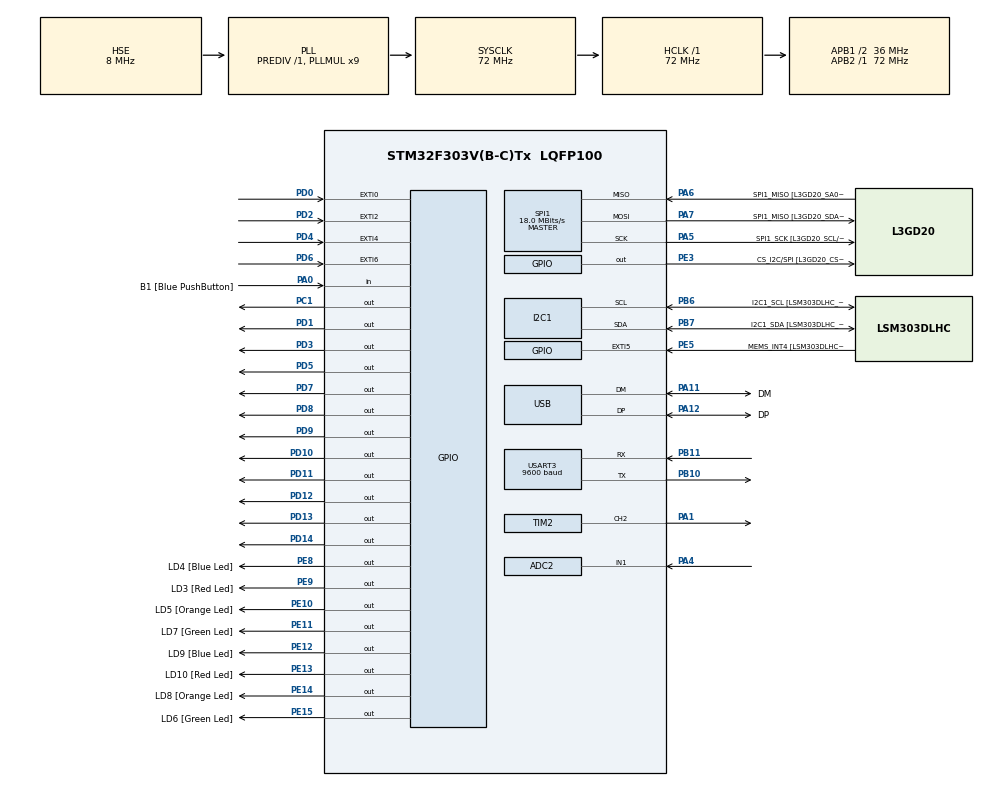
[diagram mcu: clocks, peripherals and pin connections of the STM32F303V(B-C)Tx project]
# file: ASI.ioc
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ADC2.Channel-0\#ChannelRegularConversion=ADC_CHANNEL_1
ADC2.NbrOfConversionFlag=1
ADC2.Offset-0\#ChannelRegularConversion=0
ADC2.OffsetNumber-0\#ChannelRegularConversion=ADC_OFFSET_NONE
ADC2.Rank-0\#ChannelRegularConversion=1
ADC2.SamplingTime-0\#ChannelRegularConversion=ADC_SAMPLETIME_601CYCLES_5
ADC2.SamplingTimeOPAMP-0\#ChannelRegularConversion=ADC_SAMPLETIME_19CYCLES_5
I2C1.Timing-I2C=0x2000090E
Mcu.Family=STM32F3
Mcu.Name=STM32F303V(B-C)Tx
Mcu.Package=LQFP100
NVIC.ADC1_2_IRQn=true\:2\:0\:true\:false\:true\:true\:true\:true
NVIC.EXTI0_IRQn=true\:1\:0\:true\:false\:true\:true\:true\:true
NVIC.EXTI2_TSC_IRQn=true\:1\:0\:true\:false\:true\:true\:true\:true
NVIC.EXTI4_IRQn=true\:1\:0\:true\:false\:true\:true\:true\:true
NVIC.EXTI9_5_IRQn=true\:1\:0\:true\:false\:true\:true\:true\:true
NVIC.PriorityGroup=NVIC_PRIORITYGROUP_2
NVIC.TIM1_BRK_TIM15_IRQn=true\:1\:0\:true\:false\:true\:true\:true\:true
NVIC.TIM1_CC_IRQn=true\:1\:0\:true\:false\:true\:true\:true\:true
NVIC.TIM1_TRG_COM_TIM17_IRQn=true\:1\:0\:true\:false\:true\:true\:true\:true
NVIC.TIM1_UP_TIM16_IRQn=true\:1\:0\:true\:false\:true\:true\:true\:true
NVIC.USART3_IRQn=true\:1\:0\:true\:false\:true\:true\:true\:true
PA0.GPIO_Label=B1 [Blue PushButton]
PA0.Signal=GPIO_Input
PA1.Signal=S_TIM2_CH2
PA11.GPIO_Label=DM
PA11.Mode=Device
PA11.Signal=USB_DM
PA12.GPIO_Label=DP
PA12.Mode=Device
PA12.Signal=USB_DP
PA13.GPIO_Label=SWDIO
PA13.Mode=Serial_Wire
PA13.Signal=SYS_JTMS-SWDIO
PA14.GPIO_Label=SWCLK
PA14.Mode=Serial_Wire
PA14.Signal=SYS_JTCK-SWCLK
PA4.Mode=IN1-Single-Ended
PA4.Signal=ADC2_IN1
PA5.GPIO_Label=SPI1_SCK [L3GD20_SCL/SPC]
PA5.Mode=Full_Duplex_Master
PA5.Signal=SPI1_SCK
PA6.GPIO_Label=SPI1_MISO [L3GD20_SA0/SDO]
PA6.Mode=Full_Duplex_Master
PA6.Signal=SPI1_MISO
PA7.GPIO_Label=SPI1_MISO [L3GD20_SDA/SDI/SDO]
PA7.Mode=Full_Duplex_Master
PA7.Signal=SPI1_MOSI
PB10.Mode=Asynchronous
PB10.Signal=USART3_TX
PB11.Mode=Asynchronous
PB11.Signal=USART3_RX
PB3.GPIO_Label=SWO
PB3.Signal=SYS_JTDO-TRACESWO
PB6.GPIO_Label=I2C1_SCL [LSM303DLHC_SCL]
PB6.GPIO_Pu=GPIO_PULLUP
PB6.Mode=I2C
PB6.Signal=I2C1_SCL
PB7.GPIO_Label=I2C1_SDA [LSM303DLHC_SDA]
PB7.GPIO_Pu=GPIO_PULLUP
PB7.Mode=I2C
PB7.Signal=I2C1_SDA
PC1.Signal=GPIO_Output
PC14-OSC32_IN.GPIO_Label=OSC32_IN
PC14-OSC32_IN.Signal=RCC_OSC32_IN
PC15-OSC32_OUT.GPIO_Label=OSC32_OUT
PC15-OSC32_OUT.Signal=RCC_OSC32_OUT
PD0.GPIO_PuPd=GPIO_PULLDOWN
PD0.Signal=GPXTI0
PD1.Signal=GPIO_Output
PD10.Signal=GPIO_Output
PD11.Signal=GPIO_Output
PD12.Signal=GPIO_Output
PD13.Signal=GPIO_Output
PD14.Signal=GPIO_Output
PD2.GPIO_PuPd=GPIO_PULLDOWN
PD2.Signal=GPXTI2
PD3.Signal=GPIO_Output
PD4.GPIO_PuPd=GPIO_PULLDOWN
PD4.Signal=GPXTI4
PD5.Signal=GPIO_Output
PD6.GPIO_PuPd=GPIO_PULLDOWN
PD6.Signal=GPXTI6
PD7.Signal=GPIO_Output
PD8.Signal=GPIO_Output
PD9.Signal=GPIO_Output
PE10.GPIO_Label=LD5 [Orange Led]
PE10.Signal=GPIO_Output
PE11.GPIO_Label=LD7 [Green Led]
PE11.Signal=GPIO_Output
PE12.GPIO_Label=LD9 [Blue Led]
PE12.Signal=GPIO_Output
PE13.GPIO_Label=LD10 [Red Led]
PE13.Signal=GPIO_Output
PE14.GPIO_Label=LD8 [Orange Led]
PE14.Signal=GPIO_Output
PE15.GPIO_Label=LD6 [Green Led]
PE15.Signal=GPIO_Output
PE3.GPIO_Label=CS_I2C/SPI [L3GD20_CS_I2C/SPI]
PE3.Signal=GPIO_Output
PE5.GPIO_Label=MEMS_INT4 [LSM303DLHC_INT2]
PE5.GPIO_ModeDefaultEXTI=GPIO_MODE_EVT_RISING
PE5.Signal=GPXTI5
PE8.GPIO_Label=LD4 [Blue Led]
PE8.Signal=GPIO_Output
PE9.GPIO_Label=LD3 [Red Led]
PE9.Signal=GPIO_Output
PF0-OSC_IN.GPIO_Label=OSC_IN
PF0-OSC_IN.Mode=HSE-External-Clock-Source
PF0-OSC_IN.Signal=RCC_OSC_IN
PF1-OSC_OUT.GPIO_Label=OSC_OUT
PF1-OSC_OUT.Signal=RCC_OSC_OUT
ProjectManager.HeapSize=0x200
ProjectManager.StackSize=0x400
ProjectManager.TargetToolchain=STM32CubeIDE
RCC.AHBFreq_Value=72000000
RCC.APB1CLKDivider=RCC_HCLK_DIV2
RCC.APB1Freq_Value=36000000
RCC.APB1TimFreq_Value=72000000
RCC.APB2Freq_Value=72000000
RCC.APB2TimFreq_Value=72000000
RCC.CortexFreq_Value=72000000
RCC.HCLKFreq_Value=72000000
RCC.HSE_VALUE=8000000
RCC.HSI_VALUE=8000000
RCC.LSE_VALUE=32768
RCC.PLLMUL=RCC_PLL_MUL9
RCC.PRESCALERUSB=RCC_USBCLKSOURCE_PLL_DIV1_5
RCC.SYSCLKFreq_VALUE=72000000
RCC.SYSCLKSourceVirtual=RCC_SYSCLKSOURCE_PLLCLK
RCC.USBFreq_Value=48000000
RTC.AsynchPrediv=39
RTC.SynchPrediv=999
SH.S_TIM2_CH2.0=TIM2_CH2,PWM Generation2 CH2
SPI1.BaudRatePrescaler=SPI_BAUDRATEPRESCALER_4
SPI1.BaudRatePrescaler-Full_Duplex_Master=SPI_BAUDRATEPRESCALER_2
SPI1.CalculateBaudRate=18.0 MBits/s
SPI1.CalculateBaudRate-Full_Duplex_Master=24.0 MBits/s
SPI1.Direction=SPI_DIRECTION_2LINES
SPI1.Mode=SPI_MODE_MASTER
SPI1.Mode-Full_Duplex_Master=SPI_MODE_MASTER
SPI1.VirtualType=VM_MASTER
TIM1.Period=999
TIM1.Prescaler=3599
TIM2.Channel-PWM\ Generation2\ CH2=TIM_CHANNEL_2
USART3.BaudRate=9600
USART3.VirtualMode-Asynchronous=VM_ASYNC
VP_RTC_VS_RTC_Activate.Mode=RTC_Enabled
VP_TIM1_VS_ClockSourceINT.Mode=Internal
VP_TIM2_VS_ClockSourceINT.Mode=Internal
board=STM32F3DISCOVERY

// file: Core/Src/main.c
/* USER CODE BEGIN Header */
/**
  ******************************************************************************
  * @file           : main.c
  * @brief          : Main program body
  ******************************************************************************
  * @attention
  *
  * Copyright (c) 2023 STMicroelectronics.
  * All rights reserved.
  *
  * This software is licensed under terms that can be found in the LICENSE file
  * in the root directory of this software component.
  * If no LICENSE file comes with this software, it is provided AS-IS.
  *
  ******************************************************************************
  */
/* USER CODE END Header */
#include "main.h"

/* USER CODE BEGIN Includes */
#include "buzzer.h"
#include "keypad.h"
#include "melody.h"
#include "game.h"
#include "lcd.h"
#include "stdio.h"
#include "ctype.h"
#include "string.h"
#include "LiquidCrystal.h"
/* USER CODE END Includes */

/* USER CODE BEGIN PD */
#define ADC_VOLUME ADC2
/* USER CODE END PD */

ADC_HandleTypeDef hadc2;

I2C_HandleTypeDef hi2c1;

RTC_HandleTypeDef hrtc;

SPI_HandleTypeDef hspi1;

TIM_HandleTypeDef htim1;
TIM_HandleTypeDef htim2;

UART_HandleTypeDef huart3;

PCD_HandleTypeDef hpcd_USB_FS;

/* USER CODE BEGIN PV */
RTC_TimeTypeDef mytime;
RTC_DateTypeDef mydate;

unsigned char uart_buffer[20];
unsigned char uart_data;
int uart_buffer_pos = 0;

int timer_count = 0;
volatile uint32_t last_gpio_exti;

char si_player_name[] = {'\0','\0','\0','\0','\0','\0','\0','\0','\0','\0'};
char si_game_level= 'E';
int si_is_player_entered_name=0;

int lcd_page = 0;
int lcd_page_menu_current_option = 1;
int lcd_page_game_menu_current_option;

int ph_index=0;

int msg_player_health=0;
int msg_remained_enemies=0;

int is_game_page_cleared_for_boss=0;
int is_boss_game_started = 0;
/* USER CODE END PV */

void SystemClock_Config(void);
static void MX_GPIO_Init(void);
static void MX_I2C1_Init(void);
static void MX_SPI1_Init(void);
static void MX_USB_PCD_Init(void);
static void MX_ADC2_Init(void);
static void MX_RTC_Init(void);
static void MX_TIM2_Init(void);
static void MX_USART3_UART_Init(void);
static void MX_TIM1_Init(void);
/* USER CODE BEGIN PFP */
void HAL_GPIO_EXTI_Callback(uint16_t GPIO_Pin);
void HAL_TIM_PeriodElapsedCallback(TIM_HandleTypeDef *htim);
void HAL_UART_RxCpltCallback(UART_HandleTypeDef *huart);
void HAL_ADC_ConvCpltCallback(ADC_HandleTypeDef* hadc);

void Reset_App();
/* USER CODE END PFP */

int main(void)
{

  /* MCU Configuration--------------------------------------------------------*/

  /* Reset of all peripherals, Initializes the Flash interface and the Systick. */
  HAL_Init();

  /* Configure the system clock */
  SystemClock_Config();

  /* Initialize all configured peripherals */
  MX_GPIO_Init();
  MX_I2C1_Init();
  MX_SPI1_Init();
  MX_USB_PCD_Init();
  MX_ADC2_Init();
  MX_RTC_Init();
  MX_TIM2_Init();
  MX_USART3_UART_Init();
  MX_TIM1_Init();
  /* USER CODE BEGIN 2 */
  Init_Keypad();
  HAL_UART_Receive_IT(&huart3, &uart_data, sizeof(uart_data));

  mytime.Hours = 18;
  mytime.Minutes=12;
  mytime.Seconds=41;
  HAL_RTC_SetTime(&hrtc, &mytime, RTC_FORMAT_BIN);
  mydate.Year = 23;
  mydate.Month=2;
  mydate.WeekDay=2;
  HAL_RTC_SetDate(&hrtc, &mydate, RTC_FORMAT_BIN);

  LiquidCrystal(GPIOD, GPIO_PIN_8, GPIO_PIN_9, GPIO_PIN_10, GPIO_PIN_11, GPIO_PIN_12, GPIO_PIN_13, GPIO_PIN_14);
  begin(20,4);
  LCD_Init();
  LCD_Display_Page_Menu();
  LCD_Update_Selected_Option_In_Page_Menu(1, 1);
  HAL_TIM_Base_Start_IT(&htim1);
  Init_Buzzer_PWM(&htim2,TIM_CHANNEL_2);
  PWM_Play();
  Set_Menu_Melody();
  HAL_ADC_Start_IT(&hadc2);
  /* USER CODE END 2 */

  /* Infinite loop */
  while (1)
  {

  }
}

void SystemClock_Config(void)
{
  RCC_OscInitTypeDef RCC_OscInitStruct = {0};
  RCC_ClkInitTypeDef RCC_ClkInitStruct = {0};
  RCC_PeriphCLKInitTypeDef PeriphClkInit = {0};

  /** Initializes the RCC Oscillators according to the specified parameters
  * in the RCC_OscInitTypeDef structure.
  */
  RCC_OscInitStruct.OscillatorType = RCC_OSCILLATORTYPE_HSI|RCC_OSCILLATORTYPE_LSI
                              |RCC_OSCILLATORTYPE_HSE;
  RCC_OscInitStruct.HSEState = RCC_HSE_BYPASS;
  RCC_OscInitStruct.HSEPredivValue = RCC_HSE_PREDIV_DIV1;
  RCC_OscInitStruct.HSIState = RCC_HSI_ON;
  RCC_OscInitStruct.HSICalibrationValue = RCC_HSICALIBRATION_DEFAULT;
  RCC_OscInitStruct.LSIState = RCC_LSI_ON;
  RCC_OscInitStruct.PLL.PLLState = RCC_PLL_ON;
  RCC_OscInitStruct.PLL.PLLSource = RCC_PLLSOURCE_HSE;
  RCC_OscInitStruct.PLL.PLLMUL = RCC_PLL_MUL9;
  if (HAL_RCC_OscConfig(&RCC_OscInitStruct) != HAL_OK)
  {
    Error_Handler();
  }

  /** Initializes the CPU, AHB and APB buses clocks
  */
  RCC_ClkInitStruct.ClockType = RCC_CLOCKTYPE_HCLK|RCC_CLOCKTYPE_SYSCLK
                              |RCC_CLOCKTYPE_PCLK1|RCC_CLOCKTYPE_PCLK2;
  RCC_ClkInitStruct.SYSCLKSource = RCC_SYSCLKSOURCE_PLLCLK;
  RCC_ClkInitStruct.AHBCLKDivider = RCC_SYSCLK_DIV1;
  RCC_ClkInitStruct.APB1CLKDivider = RCC_HCLK_DIV2;
  RCC_ClkInitStruct.APB2CLKDivider = RCC_HCLK_DIV1;

  if (HAL_RCC_ClockConfig(&RCC_ClkInitStruct, FLASH_LATENCY_2) != HAL_OK)
  {
    Error_Handler();
  }
  PeriphClkInit.PeriphClockSelection = RCC_PERIPHCLK_USB|RCC_PERIPHCLK_USART3
                              |RCC_PERIPHCLK_I2C1|RCC_PERIPHCLK_RTC
                              |RCC_PERIPHCLK_TIM1|RCC_PERIPHCLK_ADC12;
  PeriphClkInit.Usart3ClockSelection = RCC_USART3CLKSOURCE_PCLK1;
  PeriphClkInit.Adc12ClockSelection = RCC_ADC12PLLCLK_DIV1;
  PeriphClkInit.I2c1ClockSelection = RCC_I2C1CLKSOURCE_HSI;
  PeriphClkInit.RTCClockSelection = RCC_RTCCLKSOURCE_LSI;
  PeriphClkInit.USBClockSelection = RCC_USBCLKSOURCE_PLL_DIV1_5;
  PeriphClkInit.Tim1ClockSelection = RCC_TIM1CLK_HCLK;
  if (HAL_RCCEx_PeriphCLKConfig(&PeriphClkInit) != HAL_OK)
  {
    Error_Handler();
  }
}

static void MX_ADC2_Init(void)
{

  ADC_ChannelConfTypeDef sConfig = {0};

  /** Common config
  */
  hadc2.Instance = ADC2;
  hadc2.Init.ClockPrescaler = ADC_CLOCK_ASYNC_DIV1;
  hadc2.Init.Resolution = ADC_RESOLUTION_12B;
  hadc2.Init.ScanConvMode = ADC_SCAN_DISABLE;
  hadc2.Init.ContinuousConvMode = DISABLE;
  hadc2.Init.DiscontinuousConvMode = DISABLE;
  hadc2.Init.ExternalTrigConvEdge = ADC_EXTERNALTRIGCONVEDGE_NONE;
  hadc2.Init.ExternalTrigConv = ADC_SOFTWARE_START;
  hadc2.Init.DataAlign = ADC_DATAALIGN_RIGHT;
  hadc2.Init.NbrOfConversion = 1;
  hadc2.Init.DMAContinuousRequests = DISABLE;
  hadc2.Init.EOCSelection = ADC_EOC_SINGLE_CONV;
  hadc2.Init.LowPowerAutoWait = DISABLE;
  hadc2.Init.Overrun = ADC_OVR_DATA_OVERWRITTEN;
  if (HAL_ADC_Init(&hadc2) != HAL_OK)
  {
    Error_Handler();
  }

  /** Configure Regular Channel
  */
  sConfig.Channel = ADC_CHANNEL_1;
  sConfig.Rank = ADC_REGULAR_RANK_1;
  sConfig.SingleDiff = ADC_SINGLE_ENDED;
  sConfig.SamplingTime = ADC_SAMPLETIME_601CYCLES_5;
  sConfig.OffsetNumber = ADC_OFFSET_NONE;
  sConfig.Offset = 0;
  if (HAL_ADC_ConfigChannel(&hadc2, &sConfig) != HAL_OK)
  {
    Error_Handler();
  }

}

static void MX_I2C1_Init(void)
{

  hi2c1.Instance = I2C1;
  hi2c1.Init.Timing = 0x2000090E;
  hi2c1.Init.OwnAddress1 = 0;
  hi2c1.Init.AddressingMode = I2C_ADDRESSINGMODE_7BIT;
  hi2c1.Init.DualAddressMode = I2C_DUALADDRESS_DISABLE;
  hi2c1.Init.OwnAddress2 = 0;
  hi2c1.Init.OwnAddress2Masks = I2C_OA2_NOMASK;
  hi2c1.Init.GeneralCallMode = I2C_GENERALCALL_DISABLE;
  hi2c1.Init.NoStretchMode = I2C_NOSTRETCH_DISABLE;
  if (HAL_I2C_Init(&hi2c1) != HAL_OK)
  {
    Error_Handler();
  }

  /** Configure Analogue filter
  */
  if (HAL_I2CEx_ConfigAnalogFilter(&hi2c1, I2C_ANALOGFILTER_ENABLE) != HAL_OK)
  {
    Error_Handler();
  }

  /** Configure Digital filter
  */
  if (HAL_I2CEx_ConfigDigitalFilter(&hi2c1, 0) != HAL_OK)
  {
    Error_Handler();
  }

}

static void MX_RTC_Init(void)
{

  /** Initialize RTC Only
  */
  hrtc.Instance = RTC;
  hrtc.Init.HourFormat = RTC_HOURFORMAT_24;
  hrtc.Init.AsynchPrediv = 39;
  hrtc.Init.SynchPrediv = 999;
  hrtc.Init.OutPut = RTC_OUTPUT_DISABLE;
  hrtc.Init.OutPutPolarity = RTC_OUTPUT_POLARITY_HIGH;
  hrtc.Init.OutPutType = RTC_OUTPUT_TYPE_OPENDRAIN;
  if (HAL_RTC_Init(&hrtc) != HAL_OK)
  {
    Error_Handler();
  }

}

static void MX_SPI1_Init(void)
{

  /* SPI1 parameter configuration*/
  hspi1.Instance = SPI1;
  hspi1.Init.Mode = SPI_MODE_MASTER;
  hspi1.Init.Direction = SPI_DIRECTION_2LINES;
  hspi1.Init.DataSize = SPI_DATASIZE_4BIT;
  hspi1.Init.CLKPolarity = SPI_POLARITY_LOW;
  hspi1.Init.CLKPhase = SPI_PHASE_1EDGE;
  hspi1.Init.NSS = SPI_NSS_SOFT;
  hspi1.Init.BaudRatePrescaler = SPI_BAUDRATEPRESCALER_4;
  hspi1.Init.FirstBit = SPI_FIRSTBIT_MSB;
  hspi1.Init.TIMode = SPI_TIMODE_DISABLE;
  hspi1.Init.CRCCalculation = SPI_CRCCALCULATION_DISABLE;
  hspi1.Init.CRCPolynomial = 7;
  hspi1.Init.CRCLength = SPI_CRC_LENGTH_DATASIZE;
  hspi1.Init.NSSPMode = SPI_NSS_PULSE_ENABLE;
  if (HAL_SPI_Init(&hspi1) != HAL_OK)
  {
    Error_Handler();
  }

}

static void MX_TIM1_Init(void)
{

  TIM_ClockConfigTypeDef sClockSourceConfig = {0};
  TIM_MasterConfigTypeDef sMasterConfig = {0};

  htim1.Instance = TIM1;
  htim1.Init.Prescaler = 3599;
  htim1.Init.CounterMode = TIM_COUNTERMODE_UP;
  htim1.Init.Period = 999;
  htim1.Init.ClockDivision = TIM_CLOCKDIVISION_DIV1;
  htim1.Init.RepetitionCounter = 0;
  htim1.Init.AutoReloadPreload = TIM_AUTORELOAD_PRELOAD_DISABLE;
  if (HAL_TIM_Base_Init(&htim1) != HAL_OK)
  {
    Error_Handler();
  }
  sClockSourceConfig.ClockSource = TIM_CLOCKSOURCE_INTERNAL;
  if (HAL_TIM_ConfigClockSource(&htim1, &sClockSourceConfig) != HAL_OK)
  {
    Error_Handler();
  }
  sMasterConfig.MasterOutputTrigger = TIM_TRGO_RESET;
  sMasterConfig.MasterOutputTrigger2 = TIM_TRGO2_RESET;
  sMasterConfig.MasterSlaveMode = TIM_MASTERSLAVEMODE_DISABLE;
  if (HAL_TIMEx_MasterConfigSynchronization(&htim1, &sMasterConfig) != HAL_OK)
  {
    Error_Handler();
  }

}

static void MX_TIM2_Init(void)
{

  TIM_ClockConfigTypeDef sClockSourceConfig = {0};
  TIM_MasterConfigTypeDef sMasterConfig = {0};
  TIM_OC_InitTypeDef sConfigOC = {0};

  htim2.Instance = TIM2;
  htim2.Init.Prescaler = 0;
  htim2.Init.CounterMode = TIM_COUNTERMODE_UP;
  htim2.Init.Period = 4294967295;
  htim2.Init.ClockDivision = TIM_CLOCKDIVISION_DIV1;
  htim2.Init.AutoReloadPreload = TIM_AUTORELOAD_PRELOAD_DISABLE;
  if (HAL_TIM_Base_Init(&htim2) != HAL_OK)
  {
    Error_Handler();
  }
  sClockSourceConfig.ClockSource = TIM_CLOCKSOURCE_INTERNAL;
  if (HAL_TIM_ConfigClockSource(&htim2, &sClockSourceConfig) != HAL_OK)
  {
    Error_Handler();
  }
  if (HAL_TIM_PWM_Init(&htim2) != HAL_OK)
  {
    Error_Handler();
  }
  sMasterConfig.MasterOutputTrigger = TIM_TRGO_RESET;
  sMasterConfig.MasterSlaveMode = TIM_MASTERSLAVEMODE_DISABLE;
  if (HAL_TIMEx_MasterConfigSynchronization(&htim2, &sMasterConfig) != HAL_OK)
  {
    Error_Handler();
  }
  sConfigOC.OCMode = TIM_OCMODE_PWM1;
  sConfigOC.Pulse = 0;
  sConfigOC.OCPolarity = TIM_OCPOLARITY_HIGH;
  sConfigOC.OCFastMode = TIM_OCFAST_DISABLE;
  if (HAL_TIM_PWM_ConfigChannel(&htim2, &sConfigOC, TIM_CHANNEL_2) != HAL_OK)
  {
    Error_Handler();
  }
  HAL_TIM_MspPostInit(&htim2);

}

static void MX_USART3_UART_Init(void)
{

  huart3.Instance = USART3;
  huart3.Init.BaudRate = 9600;
  huart3.Init.WordLength = UART_WORDLENGTH_8B;
  huart3.Init.StopBits = UART_STOPBITS_1;
  huart3.Init.Parity = UART_PARITY_NONE;
  huart3.Init.Mode = UART_MODE_TX_RX;
  huart3.Init.HwFlowCtl = UART_HWCONTROL_NONE;
  huart3.Init.OverSampling = UART_OVERSAMPLING_16;
  huart3.Init.OneBitSampling = UART_ONE_BIT_SAMPLE_DISABLE;
  huart3.AdvancedInit.AdvFeatureInit = UART_ADVFEATURE_NO_INIT;
  if (HAL_UART_Init(&huart3) != HAL_OK)
  {
    Error_Handler();
  }

}

static void MX_USB_PCD_Init(void)
{

  hpcd_USB_FS.Instance = USB;
  hpcd_USB_FS.Init.dev_endpoints = 8;
  hpcd_USB_FS.Init.speed = PCD_SPEED_FULL;
  hpcd_USB_FS.Init.phy_itface = PCD_PHY_EMBEDDED;
  hpcd_USB_FS.Init.low_power_enable = DISABLE;
  hpcd_USB_FS.Init.battery_charging_enable = DISABLE;
  if (HAL_PCD_Init(&hpcd_USB_FS) != HAL_OK)
  {
    Error_Handler();
  }

}

static void MX_GPIO_Init(void)
{
  GPIO_InitTypeDef GPIO_InitStruct = {0};

  /* GPIO Ports Clock Enable */
  __HAL_RCC_GPIOE_CLK_ENABLE();
  __HAL_RCC_GPIOC_CLK_ENABLE();
  __HAL_RCC_GPIOF_CLK_ENABLE();
  __HAL_RCC_GPIOA_CLK_ENABLE();
  __HAL_RCC_GPIOB_CLK_ENABLE();
  __HAL_RCC_GPIOD_CLK_ENABLE();

  /*Configure GPIO pin Output Level */
  HAL_GPIO_WritePin(GPIOE, CS_I2C_SPI_Pin|LD4_Pin|LD3_Pin|LD5_Pin
                          |LD7_Pin|LD9_Pin|LD10_Pin|LD8_Pin
                          |LD6_Pin, GPIO_PIN_RESET);

  /*Configure GPIO pin Output Level */
  HAL_GPIO_WritePin(GPIOC, GPIO_PIN_1, GPIO_PIN_RESET);

  /*Configure GPIO pin Output Level */
  HAL_GPIO_WritePin(GPIOD, GPIO_PIN_8|GPIO_PIN_9|GPIO_PIN_10|GPIO_PIN_11
                          |GPIO_PIN_12|GPIO_PIN_13|GPIO_PIN_14|GPIO_PIN_1
                          |GPIO_PIN_3|GPIO_PIN_5|GPIO_PIN_7, GPIO_PIN_RESET);

  /*Configure GPIO pins : CS_I2C_SPI_Pin LD4_Pin LD3_Pin LD5_Pin
                           LD7_Pin LD9_Pin LD10_Pin LD8_Pin
                           LD6_Pin */
  GPIO_InitStruct.Pin = CS_I2C_SPI_Pin|LD4_Pin|LD3_Pin|LD5_Pin
                          |LD7_Pin|LD9_Pin|LD10_Pin|LD8_Pin
                          |LD6_Pin;
  GPIO_InitStruct.Mode = GPIO_MODE_OUTPUT_PP;
  GPIO_InitStruct.Pull = GPIO_NOPULL;
  GPIO_InitStruct.Speed = GPIO_SPEED_FREQ_LOW;
  HAL_GPIO_Init(GPIOE, &GPIO_InitStruct);

  /*Configure GPIO pin : MEMS_INT4_Pin */
  GPIO_InitStruct.Pin = MEMS_INT4_Pin;
  GPIO_InitStruct.Mode = GPIO_MODE_EVT_RISING;
  GPIO_InitStruct.Pull = GPIO_NOPULL;
  HAL_GPIO_Init(MEMS_INT4_GPIO_Port, &GPIO_InitStruct);

  /*Configure GPIO pin : PC1 */
  GPIO_InitStruct.Pin = GPIO_PIN_1;
  GPIO_InitStruct.Mode = GPIO_MODE_OUTPUT_PP;
  GPIO_InitStruct.Pull = GPIO_NOPULL;
  GPIO_InitStruct.Speed = GPIO_SPEED_FREQ_LOW;
  HAL_GPIO_Init(GPIOC, &GPIO_InitStruct);

  /*Configure GPIO pin : B1_Pin */
  GPIO_InitStruct.Pin = B1_Pin;
  GPIO_InitStruct.Mode = GPIO_MODE_INPUT;
  GPIO_InitStruct.Pull = GPIO_NOPULL;
  HAL_GPIO_Init(B1_GPIO_Port, &GPIO_InitStruct);

  /*Configure GPIO pins : PD8 PD9 PD10 PD11
                           PD12 PD13 PD14 PD1
                           PD3 PD5 PD7 */
  GPIO_InitStruct.Pin = GPIO_PIN_8|GPIO_PIN_9|GPIO_PIN_10|GPIO_PIN_11
                          |GPIO_PIN_12|GPIO_PIN_13|GPIO_PIN_14|GPIO_PIN_1
                          |GPIO_PIN_3|GPIO_PIN_5|GPIO_PIN_7;
  GPIO_InitStruct.Mode = GPIO_MODE_OUTPUT_PP;
  GPIO_InitStruct.Pull = GPIO_NOPULL;
  GPIO_InitStruct.Speed = GPIO_SPEED_FREQ_LOW;
  HAL_GPIO_Init(GPIOD, &GPIO_InitStruct);

  /*Configure GPIO pins : PD0 PD2 PD4 PD6 */
  GPIO_InitStruct.Pin = GPIO_PIN_0|GPIO_PIN_2|GPIO_PIN_4|GPIO_PIN_6;
  GPIO_InitStruct.Mode = GPIO_MODE_IT_RISING;
  GPIO_InitStruct.Pull = GPIO_PULLDOWN;
  HAL_GPIO_Init(GPIOD, &GPIO_InitStruct);

  /* EXTI interrupt init*/
  HAL_NVIC_SetPriority(EXTI0_IRQn, 1, 0);
  HAL_NVIC_EnableIRQ(EXTI0_IRQn);

  HAL_NVIC_SetPriority(EXTI2_TSC_IRQn, 1, 0);
  HAL_NVIC_EnableIRQ(EXTI2_TSC_IRQn);

  HAL_NVIC_SetPriority(EXTI4_IRQn, 1, 0);
  HAL_NVIC_EnableIRQ(EXTI4_IRQn);

  HAL_NVIC_SetPriority(EXTI9_5_IRQn, 1, 0);
  HAL_NVIC_EnableIRQ(EXTI9_5_IRQn);

}

/* USER CODE BEGIN 4 */
void HAL_ADC_ConvCpltCallback(ADC_HandleTypeDef* hadc)
{
	if(hadc->Instance == ADC2){
		int raw_volume = HAL_ADC_GetValue(&hadc2);
		int volume = (raw_volume - 859) * 25 / (4095-770);
		PWM_Set_Volume(volume);
		 HAL_ADC_Start_IT(&hadc2);
	}
}

void HAL_TIM_PeriodElapsedCallback(TIM_HandleTypeDef *htim){ 		//every 50 ms

	if(htim->Instance == TIM1){
		timer_count++;
		int cur_page = lcd_page;
		if((timer_count * 50 ) % 1000 == 0 && cur_page == 5){
			char time_str[9];
			char date_str[9];
			HAL_RTC_GetTime(&hrtc, &mytime, RTC_FORMAT_BIN);
			HAL_RTC_GetDate(&hrtc, &mydate, RTC_FORMAT_BIN);
			sprintf(time_str,"%2d:%2d:%2d",mytime.Hours,mytime.Minutes,mytime.Seconds);
			sprintf(date_str,"%2d:%2d:%2d",mydate.Year ,mydate.Month  ,mydate.WeekDay);
			LCD_Update_Time(time_str,date_str);
		}

		if(cur_page == 1){
			int is_non_boss_game_ended = SI_Is_Non_Boss_Game_Ended();
			if(is_non_boss_game_ended == 1 && is_game_page_cleared_for_boss ==0){
				is_game_page_cleared_for_boss=1;
				for(int i=0;i<4;i++){
					for(int j=1;j<20;j++){
						setCursor(j, i);
						print(" ");
					}
				}
			}
			int is_game_ended = SI_Is_Game_Ended();
			if(is_game_ended==1){
				lcd_page = 7;
				Set_Rest_Melody();
				HAL_GPIO_WritePin(GPIOC, GPIO_PIN_1, 1);
				int winner = SI_Get_Winner();
				LCD_Clear_Page_Game();
				LCD_Display_Page_End();
				int score = SI_Get_Dead_Enemies();
				char score_str[5];
				sprintf(score_str,"%d",score);
				LCD_Update_Games_Info_In_End(si_player_name,score_str);
				if(winner == 1){
					char msg[] = "You Win\n";
					HAL_UART_Transmit(&huart3, msg, strlen(msg), 1000);
				}else if(winner == -1){
					char msg[] = "Enemy Win\n";
					HAL_UART_Transmit(&huart3, msg, strlen(msg), 1000);
				}

			}else{
				if(is_non_boss_game_ended==1){
					int winner = SI_Get_Winner();
					if(winner == -1){
						lcd_page = 7;
						Set_Rest_Melody();
						HAL_GPIO_WritePin(GPIOC, GPIO_PIN_1, 1);
						LCD_Clear_Page_Game();
						LCD_Display_Page_End();
						int score = SI_Get_Dead_Enemies();
						char score_str[5];
						sprintf(score_str,"%d",score);
						LCD_Update_Games_Info_In_End(si_player_name,score_str);
						if(winner == 1){
							char msg[] = "You Win\n";
							HAL_UART_Transmit(&huart3, msg, strlen(msg), 1000);
						}else if(winner == -1){
							char msg[] = "Enemy Win\n";
							HAL_UART_Transmit(&huart3, msg, strlen(msg), 1000);
						}
					}else{
						if(is_boss_game_started == 0){
							is_boss_game_started = 1;
							Set_Boss_Melody();
						}
						SI_Handle_Boss_Game();
						int remained_enemies = SI_Get_Remained_Enemies_Killings_For_Winnig();
						if(remained_enemies==3 && msg_remained_enemies==0){
							msg_remained_enemies = 1;
							char msg[] = "Only 3 Enemies Remained For Win\n";
							HAL_UART_Transmit(&huart3, msg, strlen(msg), 1000);
						}
						int player_health = SI_Get_Player_Health();
						if((player_health == 2||player_health == 1) && msg_player_health==0){
							msg_player_health=1;
							char msg[] = "Your Health Is less than 2.\n";
							HAL_UART_Transmit(&huart3, msg, strlen(msg), 1000);
						}
						UpdatedEntity* ues =  SI_Get_Updated_Entities();
						LCD_Update_Game_Boss(ues);
					}
				}else{
					SI_Handle_Game();
					int is_refresh_needed_for_enemies_moves = SI_Is_Enemies_Move_Down();
					int remained_enemies = SI_Get_Remained_Enemies_Killings_For_Winnig();
					if(remained_enemies==3 && msg_remained_enemies==0){
						msg_remained_enemies = 1;
						char msg[] = "Only 3 Enemies Remained For Win\n";
						HAL_UART_Transmit(&huart3, msg, strlen(msg), 1000);
					}
					int player_health = SI_Get_Player_Health();
					if(player_health == 1 && msg_player_health==0){
						msg_player_health=1;
						char msg[] = "Your Health Is 1.\n";
						HAL_UART_Transmit(&huart3, msg, strlen(msg), 1000);
					}
					int ipke = SI_Is_Player_Kill_Enemy();
					if(ipke == 1){
						Set_Kill_Effect();
					}
					UpdatedEntity* ues =  SI_Get_Updated_Entities();
					if(is_refresh_needed_for_enemies_moves == 1){
						LCD_Update_Game_With_Enemy_Move(ues);
					}else{
						LCD_Update_Game_Without_Enemy_Move(ues);
					}

				}
			}
		}
	}
}
void HAL_UART_RxCpltCallback(UART_HandleTypeDef *huart){
	if(huart->Instance == USART3){
		if(uart_data != 0x0A){
			uart_buffer[uart_buffer_pos] = uart_data;
			uart_buffer_pos += 1;
		}else{
			uart_buffer[uart_buffer_pos] = '\0';
			int str_len = uart_buffer_pos + 2; //if user enter {aa} str_len is 4 because {a + a + 0x0A + \0}
			char input[str_len];
			for (int i = 0; i < str_len; i++) {
				input[i] = toupper(uart_buffer[i]); //for example if user enter RezA it changes to REZA for next processes
			}
			uart_buffer_pos = 0 ;
			if(lcd_page == 2){
//				char msg[] = "Please Enter A Valid Name With String Length < 8\n";
//				int size =strlen(input);
//				if(size > 1){
//					HAL_UART_Transmit(&huart3, msg, sizeof(msg), 1000);
//				}else{
//					if(ph_index< 8){
//						si_player_name[ph_index] = input[0];
//						si_is_player_entered_name = 1;
//						ph_index++;
//						LCD_Update_Char_Name_Pointer(ph_index+2);
//						if(ph_index>7){
//							ph_index=7;
//						}
//						Reset_PK();
//					}
//				}
			}
		}
	}
	HAL_UART_Receive_IT(&huart3, &uart_data, sizeof(uart_data));

}

void HAL_GPIO_EXTI_Callback(uint16_t GPIO_Pin){
  if (last_gpio_exti + 200 > HAL_GetTick()) // Simple button debouncing
  {
	return;
  }
  last_gpio_exti = HAL_GetTick();

	HAL_GPIO_TogglePin(GPIOE, GPIO_PIN_11);
	uint8_t button_number = Handle_Keypad(GPIO_Pin);
	  //   C0   C1   C2   C3
	  // +----+----+----+----+
	  // | 1  | 2  | 3  | 4  |  R0
	  // +----+----+----+----+
	  // | 5  | 6  | 7  | 8  |  R1
	  // +----+----+----+----+
	  // | 9  | 10 | 11 | 12 |  R2
	  // +----+----+----+----+
	  // | 13 | 14 | 15 | 16 |  R3
	  // +----+----+----+----+
	/*
	 * page 0 : menu
	 * page 1 : game
	 * page 2 : enter name
	 * page 3 : enter game level
	 * page 5 : about
	 * page 7 : end
	 *
	 */
	int player_col;
	int new_player_col;

	int page = lcd_page;
	switch (page){
		case 0 :
			switch (button_number)
			  {
				case 2:
					if(lcd_page_menu_current_option != 1){
						lcd_page_menu_current_option--;
						LCD_Update_Selected_Option_In_Page_Menu(lcd_page_menu_current_option,lcd_page_menu_current_option+1);
					}
					break;
				case 4:
					LCD_Clear_Page_Menu();
					if(lcd_page_menu_current_option == 1){
						lcd_page = 2;
						Set_Rest_Melody();
						LCD_Display_Page_Entering_Name();
						ph_index = 0;
					}else if(lcd_page_menu_current_option == 2){
						lcd_page = 5;
						Set_Rest_Melody();
						LCD_Display_Page_About();
					}
					break;
				case 10:
					if(lcd_page_menu_current_option != 2){
						lcd_page_menu_current_option++;
						LCD_Update_Selected_Option_In_Page_Menu(lcd_page_menu_current_option,lcd_page_menu_current_option-1);
					}
					break;
				default :
					break;
			  }
			break;
		case 1 :
			switch (button_number)
			  {
				case 5:
					player_col = SI_Get_Player_Col();
					SI_Move_Player(LEFT);
					new_player_col = SI_Get_Player_Col();
					LCD_Update_Game_Player(new_player_col,player_col);
					break;
				case 10:
					SI_Shoot_Player();
					Set_Fire_Effect();
					if(is_boss_game_started == 1){
						Set_Boss_Melody();
					}
					break;
				case 7:
					player_col = SI_Get_Player_Col();
					SI_Move_Player(RIGHT);
					new_player_col = SI_Get_Player_Col();
					LCD_Update_Game_Player(new_player_col,player_col);
					break;
				default :
					break;
			  }

			break;
		case 2 ://Entering Name
			if(button_number == 4){
				LCD_Clear_Player_Name();
				ph_index = 0;
				Reset_PK();
				si_is_player_entered_name = 0;
			}else if(button_number == 12){
				if(si_is_player_entered_name==1){
					lcd_page = 3;
					LCD_Clear_Page_Entering_Name();
					LCD_Display_Page_Setting_Level();
				}else{
					char msg[] = "Please Enter Or Complete Your Name.\n";
					HAL_UART_Transmit(&huart3, msg, sizeof(msg), 1000);
				}
			}else{
				if(ph_index < 8){
					si_is_player_entered_name = 0;
					PKResult pk_result = Handle_Phone_Keypad(button_number);
					LCD_Update_Char_Name(pk_result.character, ph_index+2);
					if(pk_result.is_accepted==1 ){
						si_player_name[ph_index] = pk_result.character[0];
						si_is_player_entered_name = 1;
						ph_index++;
						LCD_Update_Char_Name_Pointer(ph_index+2);
						if(ph_index>7){
							ph_index=7;
						}
						Reset_PK();
					}
					if(pk_result.is_deleted==1){
						si_player_name[ph_index] = '\0';
						Reset_PK();
					}
				}
			}
			break;

		case 3 :
			switch (button_number)
			  {
				case 5:
					si_game_level = 'E';
					break;
				case 6:
					si_game_level = 'N';
					break;
				case 7:
					si_game_level = 'H';
					break;
				case 4:
					LCD_Clear_Page_Setting_Level();
					lcd_page = 1;
					SI_Init_Game(si_game_level, 50);
					LCD_Display_Page_Game();
					char msg[100];
					int target = 0;
					if(si_game_level == 'H'){
						target = 35;
					}else if(si_game_level == 'N'){
						target = 25;
					}else if(si_game_level == 'E'){
						target = 15;
					}
					sprintf(msg,"game started!!level is %c and enemy target for winning is %d.\n",si_game_level,target);
					HAL_UART_Transmit(&huart3, msg, strlen(msg), 1000);
					break;
				default :
					break;
			  }
			break;
		case 5 :
			if(button_number == 16){
				lcd_page = 0;
				LCD_Clear_Page_About();
				LCD_Display_Page_Menu();
				Set_Menu_Melody();
			}
			break;
		case 7 :
			if(button_number == 4){
				lcd_page = 0;
				LCD_Clear_Page_End();
				HAL_GPIO_WritePin(GPIOC, GPIO_PIN_1, 0);
				LCD_Display_Page_Menu();
				Set_Menu_Melody();
				Reset_App();
			}
			break;
		default :
			break;
	}
}
void Reset_App(){
	timer_count =0;
	lcd_page = 0;
	lcd_page_menu_current_option = 1;
	ph_index=0;
	msg_player_health=0;
	msg_remained_enemies=0;
	is_game_page_cleared_for_boss=0;
	is_boss_game_started = 0;
	uart_buffer_pos = 0;
	timer_count = 0;
	for(int i=0;i<10;i++){
		si_player_name[i] = '\0';
	}
	si_game_level= 'E';
	si_is_player_entered_name=0;
	SI_Reset_Game();
}
/* USER CODE END 4 */

void Error_Handler(void)
{
  __disable_irq();
  while (1)
  {
  }
}
